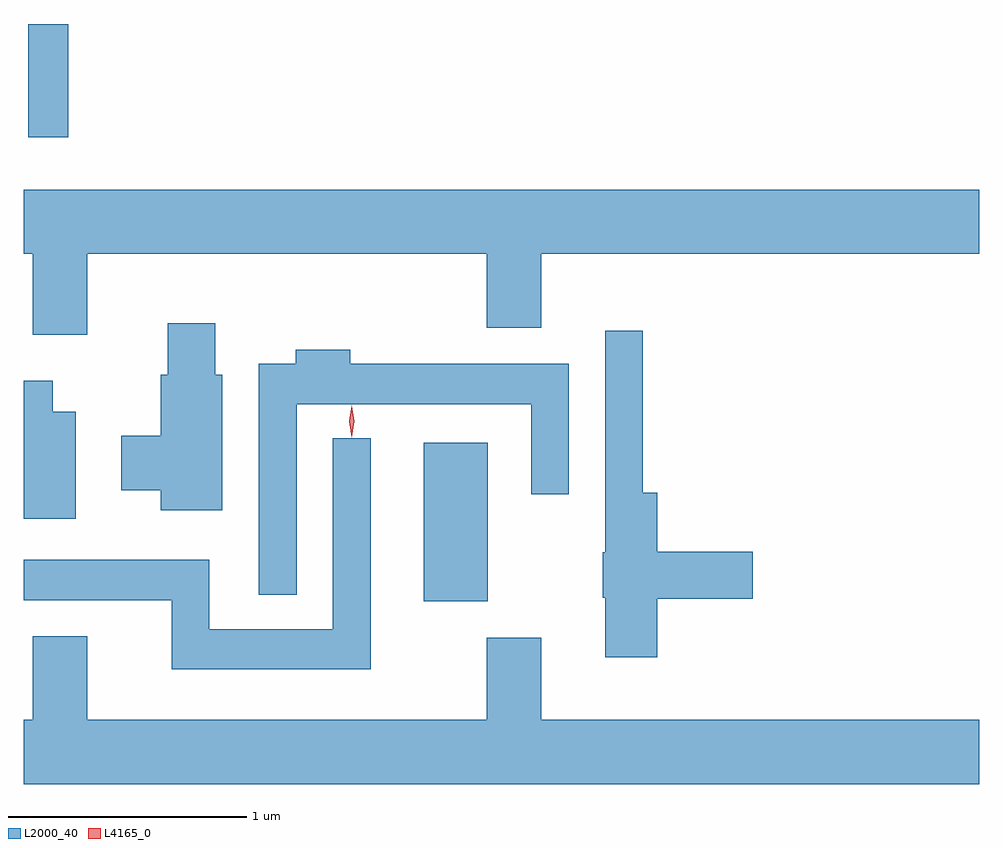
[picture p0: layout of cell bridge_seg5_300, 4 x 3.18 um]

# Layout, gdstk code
import gdstk
lib = gdstk.Library(unit=1e-6, precision=1e-09)
def R(c, l, rs):  # rectangles x0, y0, x1, y1
    for r in rs: c.add(gdstk.rectangle(r[:2], r[2:], *l))
def P(c, l, *ps):  # polygons
    for p in ps: c.add(gdstk.Polygon(p, *l))
L2000_40 = (2000, 40)
L4165_0 = (4165, 0)

bridge_seg5_300 = lib.new_cell('bridge_seg5_300')
R(bridge_seg5_300, L2000_40, [(711.796,1515.281,712.064,1515.944), (710.141,1517.223,710.309,1517.697)])
P(bridge_seg5_300, L2000_40, [(710.389,1516.736),(712.061,1516.736),(712.061,1516.426),(712.289,1516.426),(712.289,1516.736),(714.122,1516.736),(714.122,1517.004),(710.122,1517.004),(710.122,1516.736),(710.161,1516.736),(710.161,1516.396),(710.389,1516.396)],
  [(710.954,1516.229),(710.924,1516.229),(710.924,1516.444),(710.726,1516.444),(710.726,1516.229),(710.696,1516.229),(710.696,1515.974),(710.531,1515.974),(710.531,1515.746),(710.696,1515.746),(710.696,1515.661),(710.954,1515.661)],
  [(712.774,1515.291),(713.174,1515.291),(713.174,1515.489),(712.774,1515.489),(712.774,1515.734),(712.714,1515.734),(712.714,1516.413),(712.556,1516.413),(712.556,1515.485),(712.546,1515.485),(712.546,1515.295),(712.556,1515.295),(712.556,1515.046),(712.774,1515.046)],
  [(711.264,1516.106),(712.246,1516.106),(712.246,1515.728),(712.404,1515.728),(712.404,1516.274),(711.489,1516.274),(711.489,1516.334),(711.261,1516.334),(711.261,1516.274),(711.106,1516.274),(711.106,1515.308),(711.264,1515.308)],
  [(710.339,1516.074),(710.244,1516.074),(710.244,1516.204),(710.122,1516.204),(710.122,1515.626),(710.339,1515.626)],
  [(711.574,1515.963),(711.416,1515.963),(711.416,1515.164),(710.899,1515.164),(710.899,1515.454),(710.122,1515.454),(710.122,1515.286),(710.741,1515.286),(710.741,1514.996),(711.574,1514.996)],
  [(712.061,1515.129),(712.061,1514.784),(710.389,1514.784),(710.389,1515.134),(710.161,1515.134),(710.161,1514.784),(710.122,1514.784),(710.122,1514.516),(714.122,1514.516),(714.122,1514.784),(712.289,1514.784),(712.289,1515.129)])
P(bridge_seg5_300, L4165_0, [(711.495,1515.967),(711.495,1515.967),(711.485,1516.034),(711.495,1516.1),(711.495,1516.101),(711.496,1516.1),(711.505,1516.034),(711.496,1515.967)])

lib.write_gds('bridge_seg5_300.gds')
